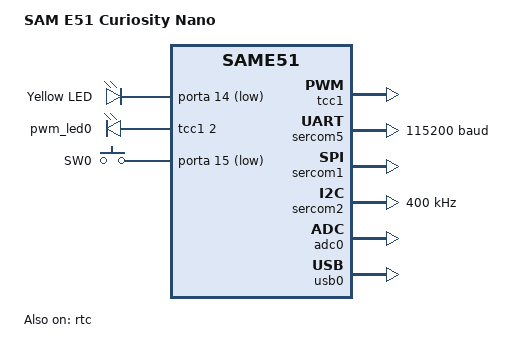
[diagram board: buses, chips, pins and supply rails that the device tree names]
/*
 * Copyright (c) 2019 Benjamin Valentin
 # Copyright (c) 2024-2025 Gerson Fernando Budke <nandojve@gmail.com>
 *
 * SPDX-License-Identifier: Apache-2.0
 */

/dts-v1/;
#include <atmel/same5xx20.dtsi>
#include "same51_cnano-pinctrl.dtsi"
#include <zephyr/dt-bindings/input/input-event-codes.h>

/ {
	model = "SAM E51 Curiosity Nano";
	compatible = "same51,cnano", "atmel,same51j20a", "atmel,same51";

	chosen {
		zephyr,console = &sercom5;
		zephyr,shell-uart = &sercom5;
		zephyr,sram = &sram0;
		zephyr,flash = &flash0;
	};

	/* These aliases are provided for compatibility with samples */
	aliases {
		led0 = &led0;
		pwm-led0 = &pwm_led0;
		sw0 = &button0;
		i2c-0 = &sercom2;
	};

	leds {
		compatible = "gpio-leds";
		led0: led_0 {
			gpios = <&porta 14 GPIO_ACTIVE_LOW>;
			label = "Yellow LED";
		};
	};

	pwmleds {
		compatible = "pwm-leds";
		pwm_led0: pwm_led_0 {
			pwms = <&tcc1 2 PWM_MSEC(20)>;
		};
	};

	buttons {
		compatible = "gpio-keys";
		button0: button_0 {
			gpios = <&porta 15 (GPIO_PULL_UP | GPIO_ACTIVE_LOW)>;
			label = "SW0";
			zephyr,code = <INPUT_KEY_0>;
		};
	};
};

&cpu0 {
	clock-frequency = <120000000>;
};

&tcc1 {
	status = "okay";
	compatible = "atmel,sam0-tcc-pwm";
	/* Gives a maximum period of 1.1s for 120MHz main clock */
	prescaler = <8>;
	#pwm-cells = <2>;

	pinctrl-0 = <&pwm_default>;
	pinctrl-names = "default";
};

&rtc {
	status = "okay";
	counter-mode = "clock";
	prescaler = <1024>;

	atmel,assigned-clocks = <&osc32kctrl 4>;
};

&sercom5 {
	status = "okay";
	compatible = "atmel,sam0-uart";
	current-speed = <115200>;
	rxpo = <1>;
	txpo = <0>;
	#address-cells = <1>;
	#size-cells = <0>;

	pinctrl-0 = <&sercom5_uart_default>;
	pinctrl-names = "default";
};

&sercom1 {
	status = "okay";
	compatible = "atmel,sam0-spi";
	dipo = <3>;
	dopo = <0>;
	#address-cells = <1>;
	#size-cells = <0>;

	pinctrl-0 = <&sercom1_spi_default>;
	pinctrl-names = "default";
};

&sercom2 {
	status = "okay";
	compatible = "atmel,sam0-i2c";
	clock-frequency = <I2C_BITRATE_FAST>;
	#address-cells = <1>;
	#size-cells = <0>;

	pinctrl-0 = <&sercom2_i2c_default>;
	pinctrl-names = "default";
};

&adc0 {
	status = "okay";
};

zephyr_udc0: &usb0 {
	status = "okay";

	pinctrl-0 = <&usb_dc_default>;
	pinctrl-names = "default";
};

&flash0 {
	partitions {
		compatible = "fixed-partitions";
		#address-cells = <1>;
		#size-cells = <1>;

		/*
		 * The final 16 KiB is reserved for the application.
		 * Storage partition will be used by FCB/LittleFS/NVS
		 * if enabled.
		 */
		storage_partition: partition@fc000 {
			label = "storage";
			reg = <0x000fc000 0x00004000>;
		};
	};
};
